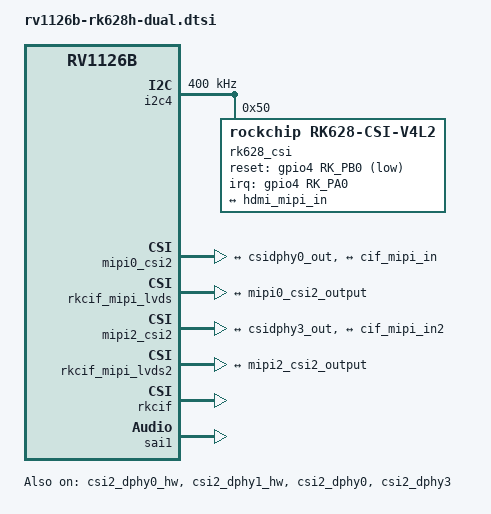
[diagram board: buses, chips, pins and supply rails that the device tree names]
// SPDX-License-Identifier: (GPL-2.0+ OR MIT)
/*
 * Portions follow Rockchip's rv1126b-evb-ext-rk628-hdmi2csi.dtsi:
 * Copyright (c) 2025 Rockchip Electronics Co., Ltd.
 * Modified by Ground Plane Studio, LLC, 2026.
 *
 * RK628H HDMI to MIPI CSI bridge on a Luckfox Aura, dual link.
 *
 * Used as is by rv1126b-luckfox-aura-rk628h-dual.dts (rk628-2x22p, 4K60), and
 * minus the multi-dev-info node by rv1126b-luckfox-aura-rk628h-single.dts
 * (rk628-22p, one link).
 *
 * Above a 300 MHz pixel clock the RK628H splits each frame left and right
 * across both of its MIPI TX ports. Rockchip's own RK628 dual references
 * (rk3576 / rk3588 -rk628-hdmi2csi) land both links on one combo D-PHY (two
 * virtual hosts inside it), and the rk628-csi driver parses only one
 * endpoint. Here the two links go to two physically separate Aura receivers
 * over two 22-pin FPCs:
 *
 *   RK628 CSI1 (TX5-9), first FPC (carries I2C, INTN, RSTN)
 *       -> Aura CSI0 (rx0): csi2_dphy0 -> mipi0_csi2 -> rkcif_mipi_lvds
 *   RK628 CSI0 (TX0-4), second FPC (lanes only)
 *       -> Aura CSI1 (rx1): csi2_dphy3 -> mipi2_csi2 -> rkcif_mipi_lvds2
 *
 * The rkcif combine (RKMODULE_MULTI_DEV_COMBINE_ONE) is host indexed
 * (rkcif_write_buff_addr_multi_dev_combine loops over dev_idx[]), so it spans
 * two separate receivers, not just two virtual hosts of one combo D-PHY. This
 * topology captured 4K60 on an earlier board with the same wiring.
 *
 * Tuning notes:
 *   - dev-idx-l/-r: the RV1126B rkcif remaps these (capture.c: 0->2, 2->4,
 *     3->5). If the seam is mirrored, swap l and r.
 *   - combine-idx: the host the combined frame surfaces on (the capture node).
 */

&i2c4 {
	status = "okay";
	pinctrl-names = "default";
	pinctrl-0 = <&i2c4m2_pins>;
	clock-frequency = <400000>;

	rk628_csi: rk628_csi@50 {
		reg = <0x50>;
		compatible = "rockchip,rk628-csi-v4l2";
		status = "okay";
		#sound-dai-cells = <0>;
		pinctrl-names = "default";
		pinctrl-0 = <&rk628_hdmiin_pin>;

		/* INTN on GPIO4_A0, RSTN on GPIO4_B0. Same as single-link. */
		interrupt-parent = <&gpio4>;
		interrupts = <RK_PA0 IRQ_TYPE_LEVEL_HIGH>;
		reset-gpios = <&gpio4 RK_PB0 GPIO_ACTIVE_LOW>;

		/* Required above 60 Hz; harmless below. */
		continues-clk = <1>;

		/*
		 * Unmute the RK628 I2S data output by default. The driver only
		 * unmutes AUD_SAO_CTRL on a sample-flat change, gated on
		 * aif->i2s_enabled; here that gate stays false, so a source that is
		 * non-flat from the first read never triggers the write, the I2S
		 * data stays muted (0x30260 bits 8:5 = 0xf) and the SAI captures
		 * silence. This flag makes rk628_hdmirx_audio_setup unmute at setup,
		 * the driver path meant for boards that feed an SoC SAI.
		 */
		i2s-enable-default;

		rockchip,camera-module-index = <0>;
		rockchip,camera-module-facing = "back";
		rockchip,camera-module-name = "HDMI-MIPI";
		rockchip,camera-module-lens-name = "RK628-CSI";

		/*
		 * The switch that enables dual MIPI. Presence of this node sets
		 * dual_mipi_use in the driver, which (a) advertises the 4K EDID and
		 * (b) lets a source above 300 MHz flip to the split output.
		 *
		 *   dev-idx-l = left  half = RK628 CSI0/TX0-4 -> second FPC -> Aura CSI1 (lvds2)
		 *   dev-idx-r = right half = RK628 CSI1/TX5-9 -> first FPC  -> Aura CSI0 (lvds)
		 */
		multi-dev-info {
			dev-idx-l = <2>;
			dev-idx-r = <0>;
			combine-idx = <0>;
			pixel-offset = <0>;
			dev-num = <2>;
		};

		/*
		 * One graph endpoint, like every Rockchip RK628 reference. A second
		 * port (port@1 -> dphy3) hangs the boot: the rk628 driver registers
		 * a single media pad, so a remote pointing at port 1 indexes a pad
		 * that does not exist. The second receiver (dphy3) is enabled below
		 * with no graph source; the rkcif combine addresses it by host index,
		 * not by media link.
		 */
		port {
			hdmiin_out: endpoint {
				remote-endpoint = <&hdmi_mipi_in>;
				data-lanes = <1 2 3 4>;
			};
		};
	};
};

/*
 * ramoops: serial-free crash visibility. CONFIG_PSTORE_RAM/CONSOLE are built in
 * but no board dts places a region. If this DTB hangs the boot, the console log
 * up to the hang lands here and shows up under /sys/fs/pstore/ on the next
 * boot (survives a warm reset; usually survives a quick power cycle).
 * System RAM on RV1126B is 0x40200000-0x7fffffff (NOT base 0: the Rockchip
 * ramoops@110000 convention would be outside RAM here). 0x50000000 sits in the
 * free mid-RAM gap, clear of the kernel, CMA, drm-logo and U-Boot staging.
 * reserved_memory in rv1126b.dtsi is 1-cell address/size.
 */
&reserved_memory {
	ramoops: ramoops@50000000 {
		compatible = "ramoops";
		reg = <0x50000000 0xf0000>;
		record-size = <0x20000>;
		console-size = <0x80000>;
		ftrace-size = <0x0>;
		pmsg-size = <0x50000>;
	};
};

/* Both split D-PHY hardware blocks. */
&csi2_dphy0_hw {
	status = "okay";
};

&csi2_dphy1_hw {
	status = "okay";
};

/* Link 1: Aura CSI0 (rx0), carries the RK628 control sideband on i2c4. */
&csi2_dphy0 {
	status = "okay";

	ports {
		#address-cells = <1>;
		#size-cells = <0>;

		port@0 {
			reg = <0>;
			#address-cells = <1>;
			#size-cells = <0>;

			hdmi_mipi_in: endpoint@1 {
				reg = <1>;
				remote-endpoint = <&hdmiin_out>;
				data-lanes = <1 2 3 4>;
			};
		};

		port@1 {
			reg = <1>;
			#address-cells = <1>;
			#size-cells = <0>;

			csidphy0_out: endpoint@0 {
				reg = <0>;
				remote-endpoint = <&mipi0_csi2_input>;
			};
		};
	};
};

&mipi0_csi2 {
	status = "okay";

	ports {
		#address-cells = <1>;
		#size-cells = <0>;

		port@0 {
			reg = <0>;
			#address-cells = <1>;
			#size-cells = <0>;

			mipi0_csi2_input: endpoint@1 {
				reg = <1>;
				remote-endpoint = <&csidphy0_out>;
			};
		};

		port@1 {
			reg = <1>;
			#address-cells = <1>;
			#size-cells = <0>;

			mipi0_csi2_output: endpoint@0 {
				reg = <0>;
				remote-endpoint = <&cif_mipi_in>;
			};
		};
	};
};

&rkcif_mipi_lvds {
	status = "okay";

	port {
		cif_mipi_in: endpoint {
			remote-endpoint = <&mipi0_csi2_output>;
		};
	};
};

/*
 * Link 2: Aura CSI1 (rx1), the second half. Modeled on cam-csi1.dtsi but
 * stopping at rkcif (no sditf / rkisp / rkvpss), as link 1 does: HDMI is
 * already YUV422 and the combine is a pure CIF to memory capture.
 */
&csi2_dphy3 {
	status = "okay";

	/*
	 * No port@0 (no graph source). The RK628 exposes a single endpoint and
	 * dphy0 holds it. The combine reaches this receiver by host index.
	 */
	ports {
		#address-cells = <1>;
		#size-cells = <0>;

		port@1 {
			reg = <1>;
			#address-cells = <1>;
			#size-cells = <0>;

			csidphy3_out: endpoint@0 {
				reg = <0>;
				remote-endpoint = <&mipi2_csi2_input>;
			};
		};
	};
};

&mipi2_csi2 {
	status = "okay";

	ports {
		#address-cells = <1>;
		#size-cells = <0>;

		port@0 {
			reg = <0>;
			#address-cells = <1>;
			#size-cells = <0>;

			mipi2_csi2_input: endpoint@1 {
				reg = <1>;
				remote-endpoint = <&csidphy3_out>;
			};
		};

		port@1 {
			reg = <1>;
			#address-cells = <1>;
			#size-cells = <0>;

			mipi2_csi2_output: endpoint@0 {
				reg = <0>;
				remote-endpoint = <&cif_mipi_in2>;
			};
		};
	};
};

&rkcif_mipi_lvds2 {
	status = "okay";

	port {
		cif_mipi_in2: endpoint {
			remote-endpoint = <&mipi2_csi2_output>;
		};
	};
};

&rkcif {
	status = "okay";
};

&rkcif_mmu {
	status = "okay";
};

/* INTN GPIO4_A0 and RSTN GPIO4_B0, the CSI0 FPC's IO0 and IO1 lines. */
&pinctrl {
	hdmiin {
		rk628_hdmiin_pin: rk628-hdmiin-pin {
			rockchip,pins =
				<4 RK_PA0 RK_FUNC_GPIO &pcfg_pull_none>,
				<4 RK_PB0 RK_FUNC_GPIO &pcfg_pull_none>;
		};
	};
};

/*
 * HDMI-in audio: RK628 I2S -> SAI1 (M2 mux), three wires from the bridge's
 * I2S header to the Aura's 40-pin header (pins 12, 16, 18). The bridge is the
 * I2S master.
 */
/ {
	rk628_dc: rk628-dc {
		compatible = "rockchip,dummy-codec";
		#sound-dai-cells = <0>;
	};

	hdmiin-sound {
		compatible = "simple-audio-card";
		simple-audio-card,format = "i2s";
		simple-audio-card,name = "rockchip,hdmiin";
		simple-audio-card,bitclock-master = <&dailink0_master>;
		simple-audio-card,frame-master = <&dailink0_master>;
		status = "okay";

		simple-audio-card,cpu {
			sound-dai = <&sai1>;
		};

		dailink0_master: simple-audio-card,codec {
			sound-dai = <&rk628_dc>;
		};
	};
};

&sai1 {
	status = "okay";
	pinctrl-names = "default";
	pinctrl-0 = <&sai1m2_sclk_pins
		     &sai1m2_lrck_pins
		     &sai1m2_sdi_pins>;
};
